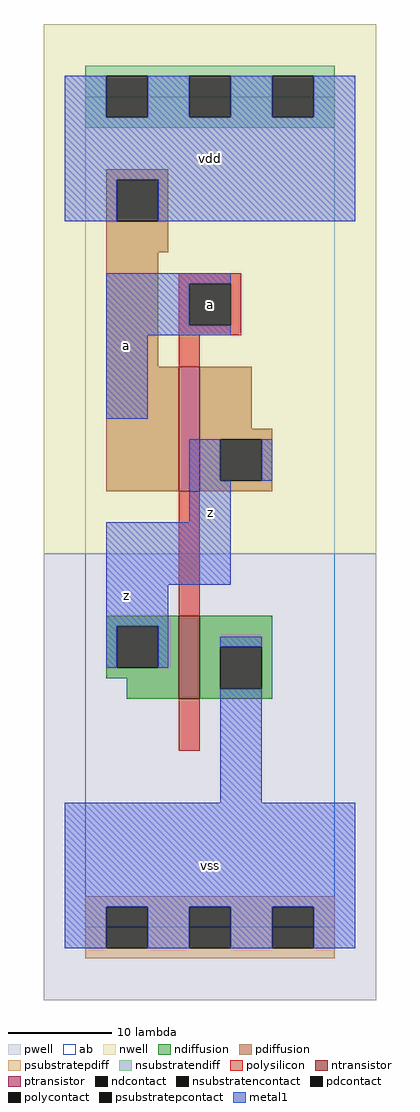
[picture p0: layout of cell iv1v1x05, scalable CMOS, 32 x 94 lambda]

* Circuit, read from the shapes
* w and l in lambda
.subckt iv1v1x05 a vdd vss z
M1 vss a z vss nfet w=8 l=2
M2 z a vdd vdd pfet w=12 l=2
.ends

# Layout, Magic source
magic
tech scmos
<< ab >>
rect 0 0 24 80
<< pwell >>
rect -4 -7 28 36
<< nwell >>
rect -4 36 28 87
<< polysilicon >>
rect 9 62 15 63
rect 9 58 10 62
rect 14 58 15 62
rect 9 57 15 58
rect 9 54 11 57
rect 9 30 11 42
rect 9 17 11 22
<< ndiffusion >>
rect 2 29 9 30
rect 2 25 3 29
rect 7 25 9 29
rect 2 24 9 25
rect 4 22 9 24
rect 11 27 18 30
rect 11 23 13 27
rect 17 23 18 27
rect 11 22 18 23
<< pdiffusion >>
rect 2 72 8 73
rect 2 68 3 72
rect 7 68 8 72
rect 2 65 8 68
rect 2 54 7 65
rect 2 42 9 54
rect 11 48 16 54
rect 11 47 18 48
rect 11 43 13 47
rect 17 43 18 47
rect 11 42 18 43
<< metal1 >>
rect -2 78 2 82
rect 6 78 10 82
rect 14 78 18 82
rect 22 78 26 82
rect -2 72 26 78
rect -2 68 3 72
rect 7 68 26 72
rect 2 62 14 63
rect 2 58 10 62
rect 2 57 14 58
rect 2 49 6 57
rect 10 43 13 47
rect 17 43 18 47
rect 10 39 14 43
rect 2 33 14 39
rect 2 29 8 33
rect 2 25 3 29
rect 7 25 8 29
rect 13 27 17 28
rect 13 12 17 23
rect -2 2 26 12
rect -2 -2 2 2
rect 6 -2 10 2
rect 14 -2 18 2
rect 22 -2 26 2
<< ntransistor >>
rect 9 22 11 30
<< ptransistor >>
rect 9 42 11 54
<< polycontact >>
rect 10 58 14 62
<< ndcontact >>
rect 3 25 7 29
rect 13 23 17 27
<< pdcontact >>
rect 3 68 7 72
rect 13 43 17 47
<< psubstratepcontact >>
rect 2 -2 6 2
rect 10 -2 14 2
rect 18 -2 22 2
<< nsubstratencontact >>
rect 2 78 6 82
rect 10 78 14 82
rect 18 78 22 82
<< psubstratepdiff >>
rect 0 2 24 3
rect 0 -2 2 2
rect 6 -2 10 2
rect 14 -2 18 2
rect 22 -2 24 2
rect 0 -3 24 -2
<< nsubstratendiff >>
rect 0 82 24 83
rect 0 78 2 82
rect 6 78 10 82
rect 14 78 18 82
rect 22 78 24 82
rect 0 77 24 78
<< labels >>
rlabel metal1 4 32 4 32 6 z
rlabel metal1 4 56 4 56 6 a
rlabel metal1 12 6 12 6 6 vss
rlabel metal1 12 40 12 40 6 z
rlabel polycontact 12 60 12 60 6 a
rlabel metal1 12 74 12 74 6 vdd
<< end >>
